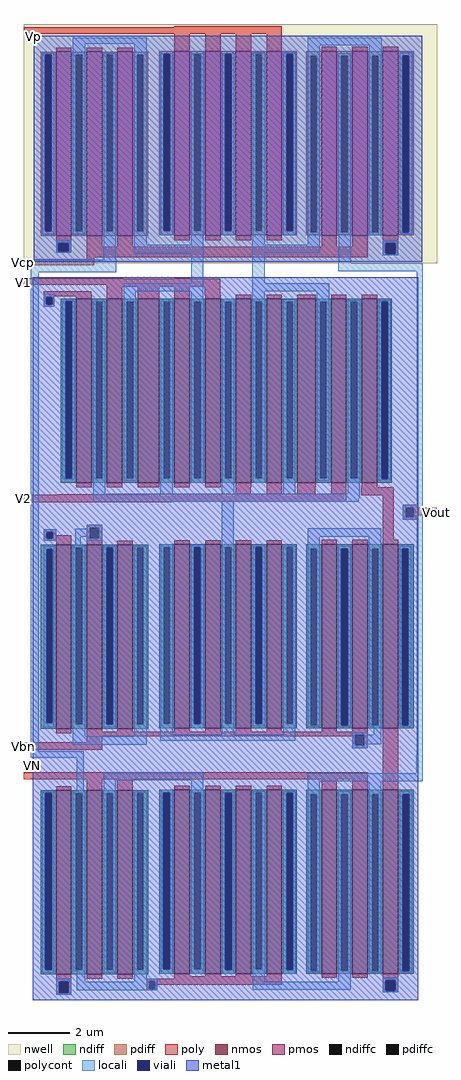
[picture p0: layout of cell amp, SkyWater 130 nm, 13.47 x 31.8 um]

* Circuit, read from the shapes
.subckt amp Vbp Vp Vcp V1 V2 Vbn VN Vcn Vout
XM1 n1 VN VN VSUBS sky130_fd_pr__nfet_01v8 w=6 l=0.5
XM2 Vbn VN VN VSUBS sky130_fd_pr__nfet_01v8 w=6 l=0.5 m=2
XM3 n2 VN VN VSUBS sky130_fd_pr__nfet_01v8 w=6 l=0.5 m=2
XM4 n3 Vcn n1 VSUBS sky130_fd_pr__nfet_01v8 w=6 l=0.5 m=2
XM5 VN Vbn Vbn VSUBS sky130_fd_pr__nfet_01v8 w=6 l=0.5 m=4
XM6 n4 V1 n2 VSUBS sky130_fd_pr__nfet_01v8 w=6 l=0.5 m=3
XM7 n2 V1 n4 VSUBS sky130_fd_pr__nfet_01v8 w=6 l=0.7
XM8 n3 n1 VN VSUBS sky130_fd_pr__nfet_01v8 w=6 l=0.5 m=2
XM9 VN Vbn n2 VSUBS sky130_fd_pr__nfet_01v8 w=6 l=0.5 m=4
XM10 n5 n1 VN VSUBS sky130_fd_pr__nfet_01v8 w=6 l=0.5 m=2
XM11 n6 V2 n2 VSUBS sky130_fd_pr__nfet_01v8 w=6 l=0.5 m=3
XM12 n6 V2 n2 VSUBS sky130_fd_pr__nfet_01v8 w=6 l=0.6
XM13 n5 Vcn Vout VSUBS sky130_fd_pr__nfet_01v8 w=6 l=0.5 m=2
XM14 VN VN Vout VSUBS sky130_fd_pr__nfet_01v8 w=6 l=0.5
XM15 n4 Vp Vp n7 sky130_fd_pr__pfet_01v8 w=6 l=0.5
XM16 n1 Vcp n4 n7 sky130_fd_pr__pfet_01v8 w=6 l=0.5 m=2
XM17 n4 Vbp Vp n7 sky130_fd_pr__pfet_01v8 w=6 l=0.5 m=2
XM18 n6 Vbp Vp n7 sky130_fd_pr__pfet_01v8 w=6 l=0.5 m=2
XM19 Vout Vcp n6 n7 sky130_fd_pr__pfet_01v8 w=6 l=0.5 m=2
XM20 Vp Vp n6 n7 sky130_fd_pr__pfet_01v8 w=6 l=0.5
.ends

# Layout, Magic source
magic
tech sky130A
<< nwell >>
rect -68 2495 1201 2496
rect -90 1716 1257 2495
<< nmos >>
rect 81 1001 131 1601
rect 181 1001 231 1601
rect 281 1001 351 1601
rect 401 1001 451 1601
rect 501 1001 551 1601
rect 601 1001 651 1601
rect 701 1001 751 1601
rect 801 1001 861 1601
rect 911 1001 961 1601
rect 1011 1001 1061 1601
rect 15 200 65 800
rect 115 200 165 800
rect 215 200 265 800
rect 401 201 451 801
rect 501 201 551 801
rect 601 201 651 801
rect 701 201 751 801
rect 880 201 930 801
rect 980 201 1030 801
rect 1080 201 1130 801
rect 15 -600 65 0
rect 115 -600 165 0
rect 215 -600 265 0
rect 401 -599 451 1
rect 501 -599 551 1
rect 601 -599 651 1
rect 701 -599 751 1
rect 880 -599 930 1
rect 980 -599 1030 1
rect 1080 -599 1130 1
<< pmos >>
rect 15 1806 65 2406
rect 115 1806 165 2406
rect 215 1806 265 2406
rect 401 1807 451 2407
rect 501 1807 551 2407
rect 601 1807 651 2407
rect 701 1807 751 2407
rect 880 1807 930 2407
rect 980 1807 1030 2407
rect 1080 1807 1130 2407
<< ndiff >>
rect 31 1591 81 1601
rect 31 1016 46 1591
rect 66 1016 81 1591
rect 31 1001 81 1016
rect 131 1591 181 1601
rect 131 1016 146 1591
rect 166 1016 181 1591
rect 131 1001 181 1016
rect 231 1591 281 1601
rect 231 1016 246 1591
rect 266 1016 281 1591
rect 231 1001 281 1016
rect 351 1591 401 1601
rect 351 1016 366 1591
rect 386 1016 401 1591
rect 351 1001 401 1016
rect 451 1591 501 1601
rect 451 1016 466 1591
rect 486 1016 501 1591
rect 451 1001 501 1016
rect 551 1591 601 1601
rect 551 1016 566 1591
rect 586 1016 601 1591
rect 551 1001 601 1016
rect 651 1591 701 1601
rect 651 1016 666 1591
rect 686 1016 701 1591
rect 651 1001 701 1016
rect 751 1591 801 1601
rect 751 1016 766 1591
rect 786 1016 801 1591
rect 751 1001 801 1016
rect 861 1591 911 1601
rect 861 1016 876 1591
rect 896 1016 911 1591
rect 861 1001 911 1016
rect 961 1591 1011 1601
rect 961 1016 976 1591
rect 996 1016 1011 1591
rect 961 1001 1011 1016
rect 1061 1591 1109 1601
rect 1061 1016 1076 1591
rect 1096 1016 1109 1591
rect 1061 1001 1109 1016
rect -35 785 15 800
rect -35 220 -15 785
rect 2 220 15 785
rect -35 200 15 220
rect 65 790 115 800
rect 65 215 80 790
rect 100 215 115 790
rect 65 200 115 215
rect 165 790 215 800
rect 165 215 180 790
rect 200 215 215 790
rect 165 200 215 215
rect 265 790 315 800
rect 265 215 280 790
rect 300 215 315 790
rect 265 200 315 215
rect 351 791 401 801
rect 351 216 366 791
rect 386 216 401 791
rect 351 201 401 216
rect 451 791 501 801
rect 451 216 466 791
rect 486 216 501 791
rect 451 201 501 216
rect 551 791 601 801
rect 551 216 566 791
rect 586 216 601 791
rect 551 201 601 216
rect 651 791 701 801
rect 651 216 666 791
rect 686 216 701 791
rect 651 201 701 216
rect 751 791 799 801
rect 751 216 766 791
rect 786 216 799 791
rect 751 201 799 216
rect 830 786 880 801
rect 830 211 845 786
rect 865 211 880 786
rect 830 201 880 211
rect 930 786 980 801
rect 930 211 945 786
rect 965 211 980 786
rect 930 201 980 211
rect 1030 786 1080 801
rect 1030 211 1045 786
rect 1065 211 1080 786
rect 1030 201 1080 211
rect 1130 786 1180 801
rect 1130 211 1143 786
rect 1163 211 1180 786
rect 1130 201 1180 211
rect -35 -10 15 0
rect -35 -585 -20 -10
rect 0 -585 15 -10
rect -35 -600 15 -585
rect 65 -10 115 0
rect 65 -585 80 -10
rect 100 -585 115 -10
rect 65 -600 115 -585
rect 165 -10 215 0
rect 165 -585 180 -10
rect 200 -585 215 -10
rect 165 -600 215 -585
rect 265 -10 315 0
rect 265 -585 280 -10
rect 300 -585 315 -10
rect 265 -600 315 -585
rect 351 -9 401 1
rect 351 -584 366 -9
rect 386 -584 401 -9
rect 351 -599 401 -584
rect 451 -9 501 1
rect 451 -584 466 -9
rect 486 -584 501 -9
rect 451 -599 501 -584
rect 551 -9 601 1
rect 551 -584 566 -9
rect 586 -584 601 -9
rect 551 -599 601 -584
rect 651 -9 701 1
rect 651 -584 666 -9
rect 686 -584 701 -9
rect 651 -599 701 -584
rect 751 -9 799 1
rect 751 -584 766 -9
rect 786 -584 799 -9
rect 751 -599 799 -584
rect 830 -14 880 1
rect 830 -589 845 -14
rect 865 -589 880 -14
rect 830 -599 880 -589
rect 930 -14 980 1
rect 930 -589 945 -14
rect 965 -589 980 -14
rect 930 -599 980 -589
rect 1030 -14 1080 1
rect 1030 -589 1045 -14
rect 1065 -589 1080 -14
rect 1030 -599 1080 -589
rect 1130 -14 1180 1
rect 1130 -589 1145 -14
rect 1165 -589 1180 -14
rect 1130 -599 1180 -589
<< pdiff >>
rect -35 2396 15 2406
rect -35 1821 -20 2396
rect 0 1821 15 2396
rect -35 1806 15 1821
rect 65 2396 115 2406
rect 65 1821 80 2396
rect 100 1821 115 2396
rect 65 1806 115 1821
rect 165 2396 215 2406
rect 165 1821 180 2396
rect 200 1821 215 2396
rect 165 1806 215 1821
rect 265 2396 315 2406
rect 265 1821 280 2396
rect 300 1821 315 2396
rect 265 1806 315 1821
rect 351 2397 401 2407
rect 351 1822 366 2397
rect 386 1822 401 2397
rect 351 1807 401 1822
rect 451 2397 501 2407
rect 451 1822 466 2397
rect 486 1822 501 2397
rect 451 1807 501 1822
rect 551 2397 601 2407
rect 551 1822 566 2397
rect 586 1822 601 2397
rect 551 1807 601 1822
rect 651 2397 701 2407
rect 651 1822 666 2397
rect 686 1822 701 2397
rect 651 1807 701 1822
rect 751 2397 799 2407
rect 751 1822 766 2397
rect 786 1822 799 2397
rect 751 1807 799 1822
rect 830 2392 880 2407
rect 830 1817 845 2392
rect 865 1817 880 2392
rect 830 1807 880 1817
rect 930 2392 980 2407
rect 930 1817 945 2392
rect 965 1817 980 2392
rect 930 1807 980 1817
rect 1030 2392 1080 2407
rect 1030 1817 1045 2392
rect 1065 1817 1080 2392
rect 1030 1807 1080 1817
rect 1130 2392 1180 2407
rect 1130 1817 1145 2392
rect 1165 1817 1180 2392
rect 1130 1807 1180 1817
<< ndiffc >>
rect 46 1016 66 1591
rect 146 1016 166 1591
rect 246 1016 266 1591
rect 366 1016 386 1591
rect 466 1016 486 1591
rect 566 1016 586 1591
rect 666 1016 686 1591
rect 766 1016 786 1591
rect 876 1016 896 1591
rect 976 1016 996 1591
rect 1076 1016 1096 1591
rect -15 220 2 785
rect 80 215 100 790
rect 180 215 200 790
rect 280 215 300 790
rect 366 216 386 791
rect 466 216 486 791
rect 566 216 586 791
rect 666 216 686 791
rect 766 216 786 791
rect 845 211 865 786
rect 945 211 965 786
rect 1045 211 1065 786
rect 1143 211 1163 786
rect -20 -585 0 -10
rect 80 -585 100 -10
rect 180 -585 200 -10
rect 280 -585 300 -10
rect 366 -584 386 -9
rect 466 -584 486 -9
rect 566 -584 586 -9
rect 666 -584 686 -9
rect 766 -584 786 -9
rect 845 -589 865 -14
rect 945 -589 965 -14
rect 1045 -589 1065 -14
rect 1145 -589 1165 -14
<< pdiffc >>
rect -20 1821 0 2396
rect 80 1821 100 2396
rect 180 1821 200 2396
rect 280 1821 300 2396
rect 366 1822 386 2397
rect 466 1822 486 2397
rect 566 1822 586 2397
rect 666 1822 686 2397
rect 766 1822 786 2397
rect 845 1817 865 2392
rect 945 1817 965 2392
rect 1045 1817 1065 2392
rect 1145 1817 1165 2392
<< poly >>
rect 400 2485 751 2488
rect -90 2465 751 2485
rect 15 2406 65 2419
rect 115 2406 165 2419
rect 215 2406 265 2419
rect 401 2407 451 2465
rect 501 2407 551 2465
rect 601 2407 651 2465
rect 701 2407 751 2465
rect 880 2407 930 2422
rect 980 2407 1030 2422
rect 1080 2407 1130 2422
rect 15 1781 65 1806
rect 15 1756 23 1781
rect 55 1756 65 1781
rect 15 1751 65 1756
rect 115 1771 165 1806
rect 215 1771 265 1806
rect 401 1792 451 1807
rect 501 1792 551 1807
rect 601 1792 651 1807
rect 701 1792 751 1807
rect 880 1771 930 1807
rect 980 1771 1030 1807
rect 115 1736 1030 1771
rect 1080 1782 1130 1807
rect 1080 1747 1090 1782
rect 1120 1747 1130 1782
rect 1080 1742 1130 1747
rect 115 1730 140 1736
rect -90 1710 140 1730
rect -90 1666 235 1668
rect 401 1666 451 1667
rect -90 1646 550 1666
rect 181 1640 550 1646
rect -25 1616 130 1625
rect -25 1609 131 1616
rect -25 1606 10 1609
rect -25 1583 -17 1606
rect 2 1583 10 1606
rect 81 1601 131 1609
rect 181 1601 231 1640
rect 281 1601 351 1640
rect 401 1601 451 1640
rect 500 1614 550 1640
rect 500 1610 551 1614
rect 501 1601 551 1610
rect 601 1601 651 1614
rect 701 1601 751 1614
rect 801 1601 861 1614
rect 911 1601 961 1614
rect 1011 1601 1061 1614
rect -25 1575 10 1583
rect 81 986 131 1001
rect 181 986 231 1001
rect 281 986 351 1001
rect 401 986 451 1001
rect 501 986 551 1001
rect 601 986 651 1001
rect 701 986 751 1001
rect 801 986 861 1001
rect 601 965 650 986
rect 701 965 750 986
rect 801 965 860 986
rect 911 965 961 1001
rect 1011 986 1061 1001
rect 321 964 961 965
rect 21 963 961 964
rect -90 940 961 963
rect 1010 960 1115 986
rect -90 939 960 940
rect -90 938 391 939
rect -90 937 196 938
rect 115 855 165 865
rect -25 840 16 850
rect -25 820 -15 840
rect 4 830 16 840
rect 4 820 65 830
rect -25 813 65 820
rect 15 800 65 813
rect 115 820 125 855
rect 155 820 165 855
rect 115 800 165 820
rect 215 800 265 813
rect 401 801 451 814
rect 501 801 551 814
rect 601 801 651 814
rect 701 801 751 814
rect 880 801 930 816
rect 980 801 1030 816
rect 1080 815 1115 960
rect 1145 920 1190 930
rect 1145 890 1155 920
rect 1180 895 1255 920
rect 1180 890 1190 895
rect 1145 880 1190 890
rect 1080 801 1130 815
rect 15 185 65 200
rect 115 190 165 200
rect 215 190 265 200
rect 401 190 451 201
rect 501 190 551 201
rect 601 190 651 201
rect 701 190 751 201
rect 880 190 930 201
rect 980 190 1030 201
rect 115 181 1030 190
rect 115 175 990 181
rect 115 155 165 175
rect -90 132 165 155
rect 980 146 990 175
rect 1020 146 1030 181
rect 980 136 1030 146
rect -90 36 1030 58
rect 15 0 65 13
rect 115 0 165 36
rect 215 0 265 36
rect 401 1 451 14
rect 501 1 551 14
rect 601 1 651 14
rect 701 1 751 14
rect 880 1 930 36
rect 980 1 1030 36
rect 1080 1 1130 201
rect 15 -625 65 -600
rect 115 -615 165 -600
rect 215 -615 265 -600
rect 401 -607 451 -599
rect 501 -607 551 -599
rect 601 -607 651 -599
rect 701 -607 751 -599
rect 400 -615 751 -607
rect 880 -612 930 -599
rect 980 -612 1030 -599
rect 15 -660 25 -625
rect 55 -660 65 -625
rect 310 -623 751 -615
rect 310 -647 319 -623
rect 337 -634 751 -623
rect 337 -647 345 -634
rect 400 -635 751 -634
rect 1080 -619 1130 -599
rect 310 -653 345 -647
rect 1080 -654 1090 -619
rect 1120 -654 1130 -619
rect 1080 -659 1130 -654
rect 15 -667 65 -660
<< polycont >>
rect 23 1756 55 1781
rect 1090 1747 1120 1782
rect -17 1583 2 1606
rect -15 820 4 840
rect 125 820 155 855
rect 1155 890 1180 920
rect 990 146 1020 181
rect 25 -660 55 -625
rect 319 -647 337 -623
rect 1090 -654 1120 -619
<< locali >>
rect 70 2431 310 2451
rect -30 2396 10 2401
rect -30 1821 -20 2396
rect 0 1821 10 2396
rect -30 1811 10 1821
rect 70 2396 110 2431
rect 70 1821 80 2396
rect 100 1821 110 2396
rect 169 2396 210 2400
rect 169 2379 180 2396
rect 70 1811 110 1821
rect 170 1821 180 2379
rect 200 1821 210 2396
rect 15 1781 65 1792
rect 15 1756 23 1781
rect 55 1756 65 1781
rect 15 1751 65 1756
rect 170 1728 210 1821
rect 270 2396 310 2431
rect 835 2426 1076 2451
rect 270 1821 280 2396
rect 300 1821 310 2396
rect 270 1776 310 1821
rect 356 2397 396 2400
rect 356 1822 366 2397
rect 386 1822 396 2397
rect 356 1812 396 1822
rect 456 2397 496 2400
rect 456 1822 466 2397
rect 486 1822 496 2397
rect 456 1812 496 1822
rect 556 2397 596 2401
rect 556 1822 566 2397
rect 586 1822 596 2397
rect 556 1812 596 1822
rect 656 2397 696 2402
rect 656 1822 666 2397
rect 686 1822 696 2397
rect 656 1812 696 1822
rect 756 2397 796 2402
rect 756 1822 766 2397
rect 787 1822 796 2397
rect 756 1812 796 1822
rect 835 2392 875 2426
rect 835 1817 845 2392
rect 865 1817 875 2392
rect 356 1807 395 1812
rect 456 1776 495 1812
rect 556 1807 595 1812
rect 656 1790 695 1812
rect 756 1807 795 1812
rect 270 1749 495 1776
rect -55 1726 211 1728
rect -67 1687 211 1726
rect -67 126 -42 1687
rect 455 1652 495 1749
rect 235 1626 495 1652
rect -25 1606 10 1615
rect -25 1583 -17 1606
rect 2 1583 10 1606
rect 235 1601 275 1626
rect -25 1575 10 1583
rect 36 1592 76 1595
rect 36 1016 46 1592
rect 66 1016 76 1592
rect 36 1013 76 1016
rect 136 1591 176 1595
rect 136 1016 146 1591
rect 166 1016 176 1591
rect 235 1591 276 1601
rect 456 1596 495 1626
rect 655 1776 695 1790
rect 835 1776 875 1817
rect 935 2392 975 2400
rect 935 1817 945 2392
rect 965 1834 975 2392
rect 1035 2393 1076 2426
rect 1035 2392 1075 2393
rect 965 1817 976 1834
rect 935 1814 976 1817
rect 655 1751 875 1776
rect 655 1651 695 1751
rect 936 1716 976 1814
rect 1035 1817 1045 2392
rect 1065 1817 1075 2392
rect 1035 1807 1075 1817
rect 1135 2392 1175 2402
rect 1135 1817 1145 2392
rect 1165 1817 1175 2392
rect 1135 1812 1175 1817
rect 1080 1782 1130 1789
rect 1080 1747 1090 1782
rect 1120 1747 1130 1782
rect 1080 1742 1130 1747
rect 935 1691 1210 1716
rect 655 1625 905 1651
rect 655 1601 695 1625
rect 235 1590 246 1591
rect 136 1006 176 1016
rect 236 1016 246 1590
rect 266 1016 276 1591
rect 236 1008 276 1016
rect 356 1591 396 1595
rect 356 1016 366 1591
rect 386 1016 396 1591
rect 356 1006 396 1016
rect 136 965 175 1006
rect 355 965 396 1006
rect 456 1591 496 1596
rect 456 1016 466 1591
rect 486 1016 496 1591
rect 556 1591 596 1601
rect 556 1016 566 1591
rect 586 1016 596 1591
rect 655 1591 696 1601
rect 655 1590 666 1591
rect 456 1006 496 1016
rect 456 1001 495 1006
rect 555 965 596 1016
rect 656 1016 666 1590
rect 686 1016 696 1591
rect 656 1006 696 1016
rect 756 1591 794 1599
rect 865 1596 905 1625
rect 865 1592 906 1596
rect 756 1016 766 1591
rect 786 1016 794 1591
rect 656 1001 695 1006
rect 756 965 794 1016
rect 866 1591 906 1592
rect 866 1016 876 1591
rect 896 1016 906 1591
rect 866 1008 906 1016
rect 966 1591 1006 1596
rect 966 1016 976 1591
rect 996 1016 1006 1591
rect 966 1014 1006 1016
rect 965 1008 1006 1014
rect 1066 1591 1106 1596
rect 1066 1015 1076 1591
rect 1096 1015 1106 1591
rect 1066 1009 1106 1015
rect 965 965 1005 1008
rect 136 950 1005 965
rect 136 940 1001 950
rect 115 855 165 865
rect 115 851 125 855
rect -25 840 16 850
rect -25 820 -15 840
rect 4 820 16 840
rect -25 813 16 820
rect 78 825 125 851
rect 78 795 96 825
rect 115 820 125 825
rect 155 820 165 855
rect 115 813 165 820
rect -25 785 10 795
rect -25 220 -15 785
rect 2 220 10 785
rect -25 205 10 220
rect 70 790 110 795
rect 70 215 80 790
rect 100 215 110 790
rect 169 790 210 794
rect 169 773 180 790
rect 70 175 110 215
rect 170 215 180 773
rect 200 215 210 790
rect 170 205 210 215
rect 270 790 310 795
rect 270 215 280 790
rect 300 215 310 790
rect 270 175 310 215
rect 356 791 396 801
rect 356 216 366 791
rect 386 216 396 791
rect 356 208 396 216
rect 70 148 310 175
rect 355 206 396 208
rect 456 796 495 799
rect 456 791 496 796
rect 456 216 465 791
rect 486 216 496 791
rect 555 795 594 940
rect 1190 930 1210 1691
rect 1145 920 1210 930
rect 1145 890 1155 920
rect 1180 890 1210 920
rect 1145 880 1210 890
rect 835 826 1075 853
rect 555 791 596 795
rect 555 790 566 791
rect 556 216 566 790
rect 586 216 596 791
rect 456 206 496 216
rect 355 180 395 206
rect 456 201 495 206
rect 555 180 596 216
rect 656 791 696 796
rect 656 216 666 791
rect 686 216 696 791
rect 656 208 696 216
rect 756 791 796 796
rect 756 216 766 791
rect 786 216 796 791
rect 756 206 796 216
rect 835 786 875 826
rect 835 211 845 786
rect 865 211 875 786
rect 835 206 875 211
rect 935 786 975 796
rect 1034 792 1075 826
rect 935 211 945 786
rect 965 228 975 786
rect 1035 786 1075 792
rect 965 211 976 228
rect 935 207 976 211
rect 1035 211 1045 786
rect 1065 211 1075 786
rect 1035 206 1075 211
rect 1135 786 1172 796
rect 1135 211 1143 786
rect 1163 211 1172 786
rect 1135 206 1172 211
rect 756 180 795 206
rect 355 160 795 180
rect 980 181 1030 188
rect 980 146 990 181
rect 1020 180 1030 181
rect 1050 180 1075 206
rect 1020 150 1075 180
rect 1020 146 1030 150
rect 980 136 1030 146
rect -67 105 105 126
rect 1190 115 1210 880
rect 82 -5 105 105
rect 170 32 495 57
rect 1189 55 1210 115
rect 170 0 210 32
rect -30 -10 10 -5
rect -30 -585 -20 -10
rect 1 -585 10 -10
rect -30 -595 10 -585
rect 70 -10 110 -5
rect 70 -585 80 -10
rect 100 -585 110 -10
rect 169 -10 210 0
rect 169 -27 180 -10
rect 70 -588 110 -585
rect 82 -591 110 -588
rect 170 -585 180 -27
rect 200 -585 210 -10
rect 15 -625 65 -615
rect 15 -660 25 -625
rect 55 -660 65 -625
rect 82 -625 111 -591
rect 170 -595 210 -585
rect 270 -10 310 -5
rect 270 -585 280 -10
rect 300 -585 310 -10
rect 270 -615 310 -585
rect 356 -8 396 1
rect 356 -583 365 -8
rect 356 -584 366 -583
rect 386 -584 396 -8
rect 455 -4 495 32
rect 835 28 1210 55
rect 455 -9 496 -4
rect 455 -10 466 -9
rect 356 -594 396 -584
rect 456 -584 466 -10
rect 486 -584 496 -9
rect 456 -594 496 -584
rect 556 -9 596 -5
rect 556 -585 566 -9
rect 586 -10 596 -9
rect 587 -585 596 -10
rect 556 -594 596 -585
rect 656 -9 696 -4
rect 656 -584 666 -9
rect 686 -584 696 -9
rect 656 -594 696 -584
rect 756 -9 796 -4
rect 756 -585 766 -9
rect 786 -10 796 -9
rect 787 -585 796 -10
rect 756 -594 796 -585
rect 835 -14 875 28
rect 835 -589 845 -14
rect 865 -589 875 -14
rect 835 -594 875 -589
rect 935 -14 975 -4
rect 1034 -8 1075 28
rect 935 -589 945 -14
rect 965 -572 975 -14
rect 1035 -14 1075 -8
rect 965 -589 976 -572
rect 356 -599 395 -594
rect 456 -599 495 -594
rect 556 -599 595 -594
rect 270 -623 345 -615
rect 270 -625 319 -623
rect 82 -647 319 -625
rect 337 -647 345 -623
rect 82 -652 345 -647
rect 656 -625 695 -594
rect 756 -599 795 -594
rect 935 -599 976 -589
rect 1035 -589 1045 -14
rect 1065 -589 1075 -14
rect 1035 -594 1075 -589
rect 1135 -14 1175 -4
rect 1135 -589 1145 -14
rect 1166 -589 1175 -14
rect 1135 -594 1175 -589
rect 935 -625 975 -599
rect 656 -650 975 -625
rect 1080 -619 1130 -612
rect 310 -653 345 -652
rect 1080 -654 1090 -619
rect 1120 -654 1130 -619
rect 1080 -659 1130 -654
rect 15 -667 65 -660
<< viali >>
rect -20 1821 0 2396
rect 23 1756 55 1781
rect 366 1822 386 2397
rect 566 1822 586 2397
rect 767 1822 786 2397
rect 786 1822 787 2397
rect -17 1583 2 1606
rect 46 1591 66 1592
rect 46 1016 66 1591
rect 1145 1817 1165 2392
rect 1090 1747 1120 1782
rect 1076 1016 1096 1591
rect 1076 1015 1096 1016
rect -15 820 4 840
rect -15 220 2 785
rect 180 215 200 790
rect 465 216 466 791
rect 466 216 485 791
rect 666 216 686 791
rect 945 211 965 786
rect 1143 211 1163 786
rect -20 -585 0 -10
rect 0 -585 1 -10
rect 25 -660 55 -625
rect 365 -9 386 -8
rect 365 -583 366 -9
rect 366 -583 386 -9
rect 566 -584 586 -10
rect 586 -584 587 -10
rect 566 -585 587 -584
rect 766 -584 786 -10
rect 786 -584 787 -10
rect 766 -585 787 -584
rect 1145 -589 1165 -14
rect 1165 -589 1166 -14
rect 1090 -654 1120 -619
<< metal1 >>
rect -58 2397 1208 2458
rect -58 2396 366 2397
rect -58 1821 -20 2396
rect 0 1822 366 2396
rect 386 1822 566 2397
rect 586 1822 767 2397
rect 787 2392 1208 2397
rect 787 1822 1145 2392
rect 0 1821 1145 1822
rect -58 1817 1145 1821
rect 1165 1817 1208 2392
rect -58 1782 1208 1817
rect -58 1781 1090 1782
rect -58 1756 23 1781
rect 55 1756 1090 1781
rect -58 1747 1090 1756
rect 1120 1747 1208 1782
rect -58 1722 1208 1747
rect -60 1606 1196 1671
rect -60 1583 -17 1606
rect 2 1592 1196 1606
rect 2 1583 46 1592
rect -60 1016 46 1583
rect 66 1591 1196 1592
rect 66 1016 1076 1591
rect -60 1015 1076 1016
rect 1096 1015 1196 1591
rect -60 840 1196 1015
rect -60 820 -15 840
rect 4 820 1196 840
rect -60 791 1196 820
rect -60 790 465 791
rect -60 785 180 790
rect -60 220 -15 785
rect 2 220 180 785
rect -60 215 180 220
rect 200 216 465 790
rect 485 216 666 791
rect 686 786 1196 791
rect 686 216 945 786
rect 200 215 945 216
rect -60 211 945 215
rect 965 211 1143 786
rect 1163 211 1196 786
rect -60 -8 1196 211
rect -60 -10 365 -8
rect -60 -585 -20 -10
rect 1 -583 365 -10
rect 386 -10 1196 -8
rect 386 -583 566 -10
rect 1 -585 566 -583
rect 587 -585 766 -10
rect 787 -14 1196 -10
rect 787 -585 1145 -14
rect -60 -589 1145 -585
rect 1166 -589 1196 -14
rect -60 -619 1196 -589
rect -60 -625 1090 -619
rect -60 -660 25 -625
rect 55 -654 1090 -625
rect 1120 -654 1196 -619
rect 55 -660 1196 -654
rect -60 -684 1196 -660
<< labels >>
rlabel metal1 -60 80 -60 80 7 VN
port 7 w
rlabel poly -90 44 -90 44 3 Vcn
port 8 e
rlabel poly -90 142 -90 142 3 Vbn
port 6 e
rlabel poly -90 950 -90 950 7 V2
port 5 w
rlabel poly -90 1655 -90 1655 7 V1
port 4 w
rlabel poly -90 1720 -90 1720 7 Vcp
port 3 w
rlabel metal1 -58 2455 -58 2455 7 Vp
port 2 w
rlabel poly -90 2475 -90 2475 7 Vbp
port 1 w
rlabel poly 1255 905 1255 905 3 Vout
port 9 e
<< end >>
